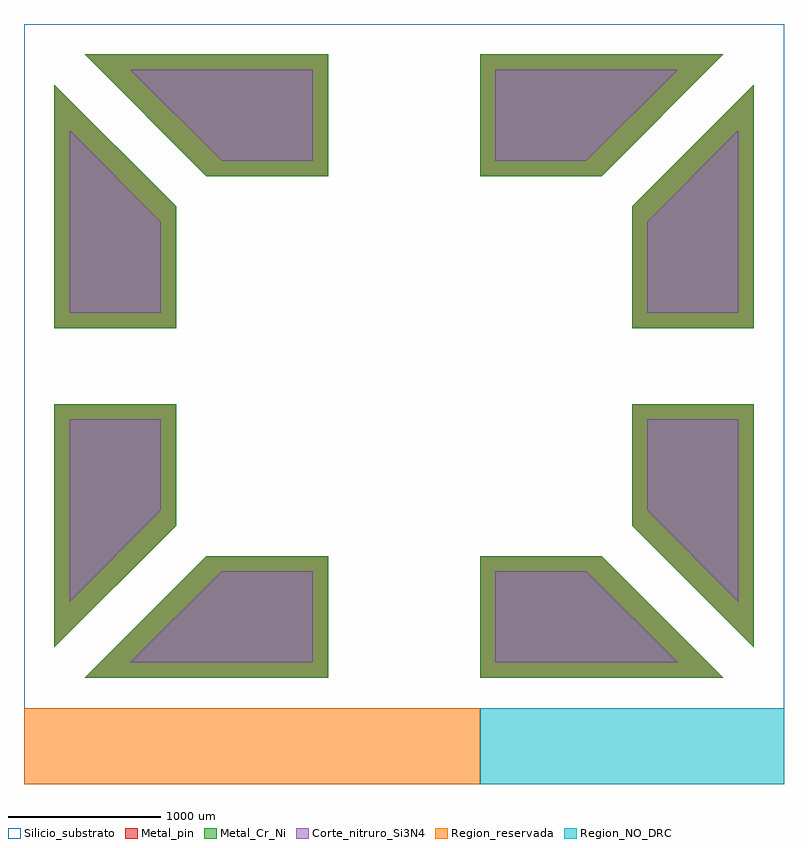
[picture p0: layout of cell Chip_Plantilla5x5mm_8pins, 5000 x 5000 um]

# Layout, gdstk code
import gdstk
lib = gdstk.Library(unit=1e-6, precision=1e-06)
def R(c, l, rs):  # rectangles x0, y0, x1, y1
    for r in rs: c.add(gdstk.rectangle(r[:2], r[2:], *l))
def P(c, l, *ps):  # polygons
    for p in ps: c.add(gdstk.Polygon(p, *l))
Silicio_substrato = (1, 1)
Region_reservada = (1, 2)
Region_NO_DRC = (1, 3)
Metal_Cr_Ni = (2, 0)
Corte_nitruro_Si3N4 = (3, 0)
Metal_pin = (4, 0)

chip_plantilla5x5mm_8pin = lib.new_cell('Chip_Plantilla5x5mm_8pins')
R(chip_plantilla5x5mm_8pin, Silicio_substrato, [(0,0,5000,5000)])
R(chip_plantilla5x5mm_8pin, Region_reservada, [(0,0,3000,500)])
R(chip_plantilla5x5mm_8pin, Region_NO_DRC, [(3000,0,5000,500)])
P(chip_plantilla5x5mm_8pin, Metal_Cr_Ni, [(400,700),(1200,1500),(2000,1500),(2000,700)],
  [(3000,700),(3000,1500),(3800,1500),(4600,700)],
  [(200,900),(200,2500),(1000,2500),(1000,1700)],
  [(4800,900),(4000,1700),(4000,2500),(4800,2500)],
  [(200,3000),(200,4600),(1000,3800),(1000,3000)],
  [(4000,3000),(4000,3800),(4800,4600),(4800,3000)],
  [(1200,4000),(400,4800),(2000,4800),(2000,4000)],
  [(3000,4000),(3000,4800),(4600,4800),(3800,4000)])
P(chip_plantilla5x5mm_8pin, Corte_nitruro_Si3N4, [(700,800),(1300,1400),(1900,1400),(1900,800)],
  [(3100,800),(3100,1400),(3700,1400),(4300,800)],
  [(300,1200),(300,2400),(900,2400),(900,1800)],
  [(4700,1200),(4100,1800),(4100,2400),(4700,2400)],
  [(300,3100),(300,4300),(900,3700),(900,3100)],
  [(4100,3100),(4100,3700),(4700,4300),(4700,3100)],
  [(1300,4100),(700,4700),(1900,4700),(1900,4100)],
  [(3100,4100),(3100,4700),(4300,4700),(3700,4100)])
P(chip_plantilla5x5mm_8pin, Metal_pin, [(400,700),(1200,1500),(2000,1500),(2000,700)],
  [(3000,700),(3000,1500),(3800,1500),(4600,700)],
  [(200,900),(200,2500),(1000,2500),(1000,1700)],
  [(4800,900),(4000,1700),(4000,2500),(4800,2500)],
  [(200,3000),(200,4600),(1000,3800),(1000,3000)],
  [(4000,3000),(4000,3800),(4800,4600),(4800,3000)],
  [(1200,4000),(400,4800),(2000,4800),(2000,4000)],
  [(3000,4000),(3000,4800),(4600,4800),(3800,4000)])

lib.write_gds('Chip_Plantilla5x5mm_8pins.gds')
